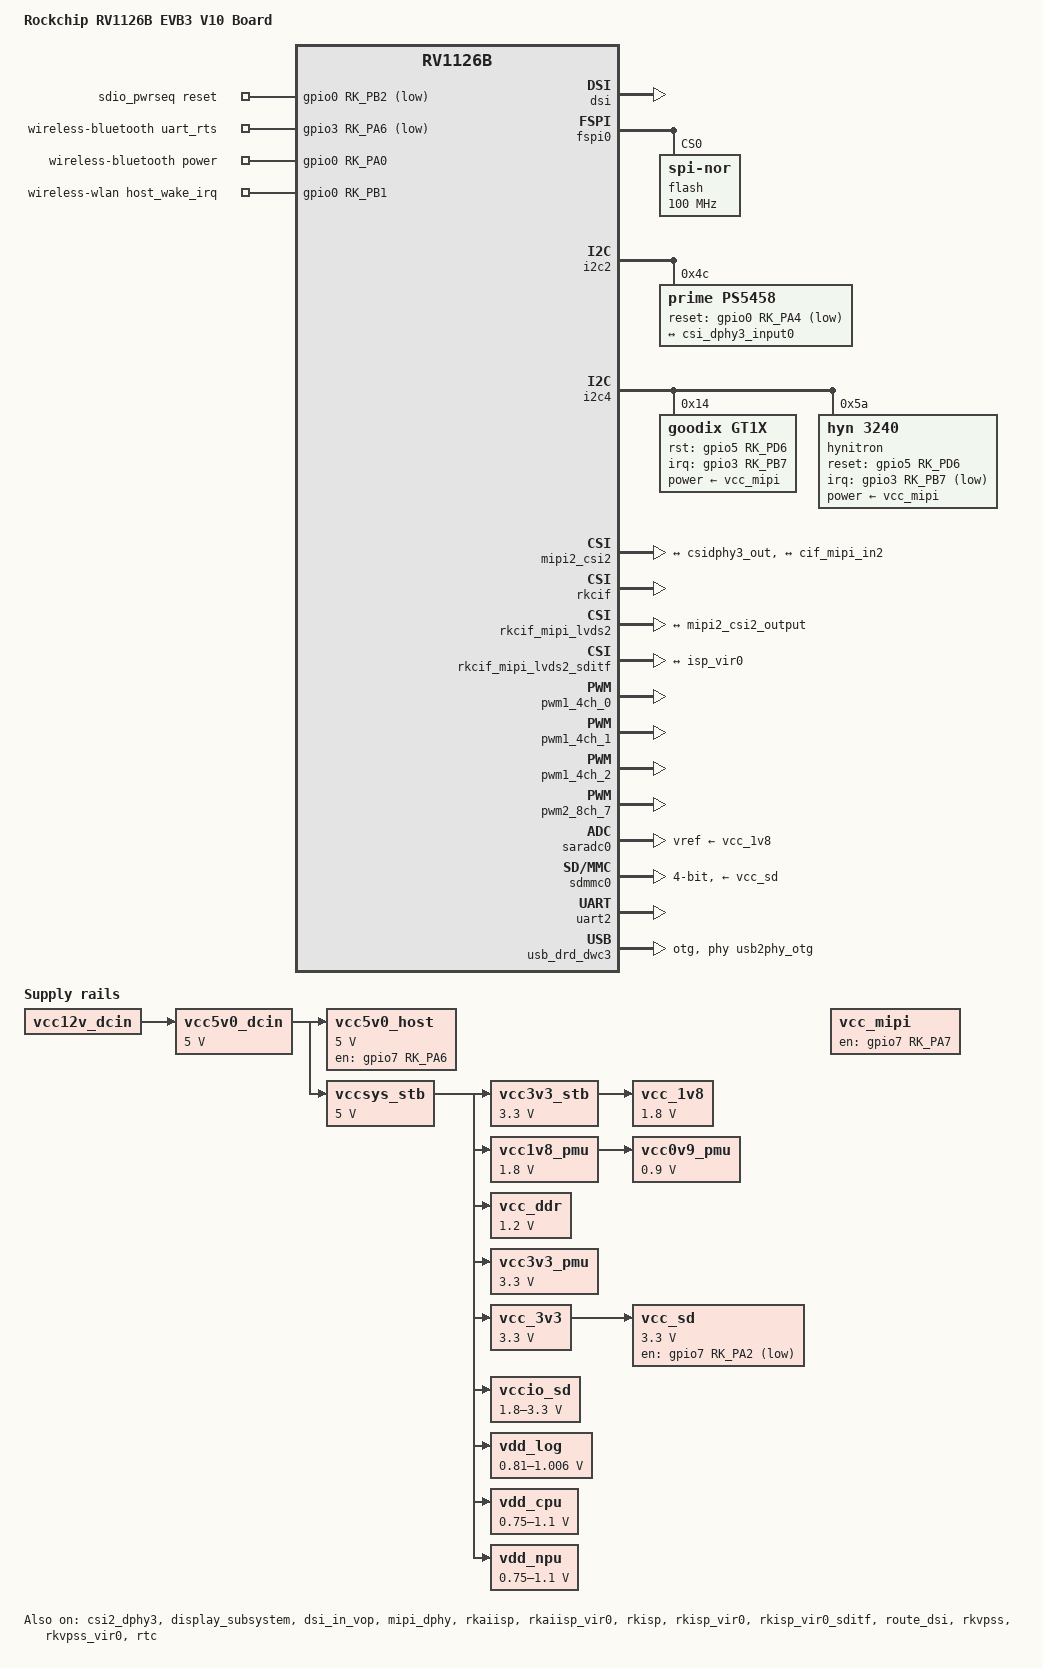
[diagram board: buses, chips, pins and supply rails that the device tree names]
// SPDX-License-Identifier: (GPL-2.0+ OR MIT)
/*
 * Copyright (c) 2025 Rockchip Electronics Co., Ltd.
 */

/dts-v1/;
#include "rv1126b.dtsi"
#include "rv1126b-evb.dtsi"

/ {
	model = "Rockchip RV1126B EVB3 V10 Board";
	compatible = "rockchip,rv1126b-evb3-v10", "rockchip,rv1126b";

	sdio_pwrseq: sdio-pwrseq {
		compatible = "mmc-pwrseq-simple";
		pinctrl-names = "default";
		pinctrl-0 = <&wifi_enable_h>;

		/*
		 * On the module itself this is one of these (depending
		 * on the actual card populated):
		 * - SDIO_RESET_L_WL_REG_ON
		 * - PDN (power down when low)
		 */
		reset-gpios = <&gpio0 RK_PB2 GPIO_ACTIVE_LOW>;
	};

	vcc5v0_dcin: vcc5v0-dcin {
		compatible = "regulator-fixed";
		regulator-name = "vcc5v0_dcin";
		regulator-always-on;
		regulator-boot-on;
		regulator-min-microvolt = <5000000>;
		regulator-max-microvolt = <5000000>;
		vin-supply = <&vcc12v_dcin>;
	};

	vcc5v0_host: vcc5v0-host {
		compatible = "regulator-fixed";
		regulator-name = "vcc5v0_host";
		regulator-boot-on;
		regulator-always-on;
		regulator-min-microvolt = <5000000>;
		regulator-max-microvolt = <5000000>;
		enable-active-high;
		gpio = <&gpio7 RK_PA6 GPIO_ACTIVE_HIGH>;
		vin-supply = <&vcc5v0_dcin>;
		pinctrl-names = "default";
		pinctrl-0 = <&vcc5v0_host_en>;
	};

	vccsys_stb: vccsys-stb {
		compatible = "regulator-fixed";
		regulator-name = "vccsys_stb";
		regulator-always-on;
		regulator-boot-on;
		regulator-min-microvolt = <5000000>;
		regulator-max-microvolt = <5000000>;
		vin-supply = <&vcc5v0_dcin>;
	};

	vcc3v3_stb: vcc3v3-stb {
		compatible = "regulator-fixed";
		regulator-name = "vcc3v3_stb";
		regulator-always-on;
		regulator-boot-on;
		regulator-min-microvolt = <3300000>;
		regulator-max-microvolt = <3300000>;
		vin-supply = <&vccsys_stb>;
	};

	vcc1v8_pmu: vdd1_1v8_ddr: vcc1v8_pmu {
		compatible = "regulator-fixed";
		regulator-name = "vcc3v3_stb";
		regulator-always-on;
		regulator-boot-on;
		regulator-min-microvolt = <1800000>;
		regulator-max-microvolt = <1800000>;
		vin-supply = <&vccsys_stb>;
	};

	vcc_ddr: vcc_ddr {
		compatible = "regulator-fixed";
		regulator-name = "vcc_ddr";
		regulator-always-on;
		regulator-boot-on;
		regulator-min-microvolt = <1200000>;
		regulator-max-microvolt = <1200000>;
		vin-supply = <&vccsys_stb>;
	};

	vcc3v3_pmu: vcc3v3-pmu {
		compatible = "regulator-fixed";
		regulator-name = "vcc3v3_pmu";
		regulator-always-on;
		regulator-boot-on;
		regulator-min-microvolt = <3300000>;
		regulator-max-microvolt = <3300000>;
		vin-supply = <&vccsys_stb>;
	};

	vcc0v9_pmu: vcc0v9-pmu {
		compatible = "regulator-fixed";
		regulator-name = "vcc0v9_pmu";
		regulator-always-on;
		regulator-boot-on;
		regulator-min-microvolt = <900000>;
		regulator-max-microvolt = <900000>;
		vin-supply = <&vcc1v8_pmu>;
	};

	vcc_mipi: vcc-mipi {
		compatible = "regulator-fixed";
		regulator-name = "vcc_mipi";
		gpio = <&gpio7 RK_PA7 GPIO_ACTIVE_HIGH>;
		enable-active-high;
		regulator-boot-on;
	};

	vcc_1v8: vcc-1v8 {
		compatible = "regulator-fixed";
		regulator-name = "vcc_1v8";
		regulator-always-on;
		regulator-boot-on;
		regulator-min-microvolt = <1800000>;
		regulator-max-microvolt = <1800000>;
		vin-supply = <&vcc3v3_stb>;
	};

	vcc_3v3: vcc3v3_dev: vcc-3v3 {
		compatible = "regulator-fixed";
		regulator-name = "vcc_3v3";
		regulator-always-on;
		regulator-boot-on;
		regulator-min-microvolt = <3300000>;
		regulator-max-microvolt = <3300000>;
		vin-supply = <&vccsys_stb>;
	};

	vcc_sd: vcc-sd {
		compatible = "regulator-fixed";
		gpio = <&gpio7 RK_PA2 GPIO_ACTIVE_LOW>;
		regulator-name = "vcc_sd";
		regulator-min-microvolt = <3300000>;
		regulator-max-microvolt = <3300000>;
		enable-active-low;
		vin-supply = <&vcc_3v3>;
	};

	vccio_sd: vccio-sd {
		compatible = "regulator-gpio";
		regulator-boot-on;
		regulator-name = "vccio_sd";
		regulator-min-microvolt = <1800000>;
		regulator-max-microvolt = <3300000>;
		gpios = <&gpio7 RK_PA3 GPIO_ACTIVE_LOW>;
		vin-supply = <&vccsys_stb>;
		states = <1800000 0x0
			  3300000 0x1>;
	};

	vdd_log: vdd-log {
		compatible = "pwm-regulator";
		pwms = <&pwm1_4ch_2 0 25000 1>;
		regulator-name = "vdd_log";
		regulator-init-microvolt = <905000>;
		regulator-min-microvolt = <810000>;
		regulator-max-microvolt = <1006000>;
		regulator-settling-time-up-us = <250>;
		regulator-always-on;
		regulator-boot-on;
		pwm-supply = <&vccsys_stb>;
		status = "okay";
	};

	vdd_cpu: vdd-cpu {
		compatible = "pwm-regulator";
		pwms = <&pwm1_4ch_0 0 25000 1>;
		regulator-name = "vdd_cpu";
		regulator-init-microvolt = <950000>;
		regulator-min-microvolt = <750000>;
		regulator-max-microvolt = <1100000>;
		regulator-settling-time-up-us = <250>;
		regulator-always-on;
		regulator-boot-on;
		pwm-supply = <&vccsys_stb>;
		status = "okay";
	};

	vdd_npu: vdd-npu {
		compatible = "pwm-regulator";
		pwms = <&pwm1_4ch_1 0 25000 1>;
		regulator-name = "vdd_npu";
		regulator-init-microvolt = <950000>;
		regulator-min-microvolt = <750000>;
		regulator-max-microvolt = <1100000>;
		regulator-settling-time-up-us = <250>;
		regulator-always-on;
		regulator-boot-on;
		pwm-supply = <&vccsys_stb>;
		status = "okay";
	};

	wireless-bluetooth {
		compatible = "bluetooth-platdata";
		uart_rts_gpios = <&gpio3 RK_PA6 GPIO_ACTIVE_LOW>;
		pinctrl-names = "default", "rts_gpio";
		pinctrl-0 = <&uart2m0_rtsn_pins>;
		pinctrl-1 = <&uart2_gpios>;
		BT,power_gpio = <&gpio0 RK_PA0 GPIO_ACTIVE_HIGH>;
		status = "okay";
	};

	wireless-wlan {
		compatible = "wlan-platdata";
		rockchip,grf = <&grf>;
		pinctrl-names = "default";
		pinctrl-0 = <&wifi_wake_host>;
		wifi_chip_type = "rk96x";
		WIFI,host_wake_irq = <&gpio0 RK_PB1 GPIO_ACTIVE_HIGH>;
		status = "okay";
	};
};

&backlight {
	pwms = <&pwm2_8ch_7 0 25000 0>;
};

&cpu0 {
	cpu-supply = <&vdd_cpu>;
};

&csi2_dphy3 {
	status = "okay";

	ports {
		#address-cells = <1>;
		#size-cells = <0>;
		port@0 {
			reg = <0>;
			#address-cells = <1>;
			#size-cells = <0>;

			csi_dphy3_input0: endpoint@1 {
				reg = <1>;
				remote-endpoint = <&ps5458_out>;
				data-lanes = <1 2>;
			};
		};
		port@1 {
			reg = <1>;
			#address-cells = <1>;
			#size-cells = <0>;

			csidphy3_out: endpoint@0 {
				reg = <0>;
				remote-endpoint = <&mipi2_csi2_input>;
			};
		};
	};
};

&display_subsystem {
	status = "okay";
};

&dsi {
	status = "okay";
};

&dsi_in_vop {
	status = "okay";
};

&dsi_panel {
	power-supply = <&vcc_mipi>;
};

&fspi0 {
	status = "okay";

	flash@0 {
		compatible = "jedec,spi-nor";
		reg = <0>;
		spi-max-frequency = <100000000>;
		spi-rx-bus-width = <4>;
		spi-tx-bus-width = <1>;
	};
};

&i2c2 {
	status = "okay";
	pinctrl-0 = <&i2c2m0_pins>;

	ps5458: ps5458@4c {
		compatible = "prime,ps5458";
		reg = <0x4c>;
		clocks = <&cru CLK_MIPI2_OUT2IO>;
		clock-names = "xvclk";
		reset-gpios = <&gpio0 RK_PA4 GPIO_ACTIVE_LOW>;
		pinctrl-names = "default";
		pinctrl-0 = <&cam_clk2_pins>;
		rockchip,camera-module-index = <0>;
		rockchip,camera-module-facing = "back";
		rockchip,camera-module-name = "default";
		rockchip,camera-module-lens-name = "default";
		port {
			ps5458_out: endpoint {
				remote-endpoint = <&csi_dphy3_input0>;
				data-lanes = <1 2>;
			};
		};
	};
};

&i2c4 {
	status = "okay";
	pinctrl-names = "default";
	pinctrl-0 = <&i2c4m3_pins>;

	gt1x: gt1x@14 {
		compatible = "goodix,gt1x";
		reg = <0x14>;
		pinctrl-names = "default";
		pinctrl-0 = <&touch_gpio>;
		power-supply = <&vcc_mipi>;
		goodix,rst-gpio = <&gpio5 RK_PD6 GPIO_ACTIVE_HIGH>;
		goodix,irq-gpio = <&gpio3 RK_PB7 IRQ_TYPE_LEVEL_LOW>;
	};

	hynitron: hynitron@5a {
		compatible = "hyn,3240";
		reg = <0x5a>;
		power-supply = <&vcc_mipi>;

		pinctrl-names = "ts_active","ts_suspend";
		pinctrl-0 = <&ts_int_active &ts_reset_active>;
		pinctrl-1 = <&ts_int_suspend &ts_reset_suspend>;

		reset-gpios = <&gpio5 RK_PD6 GPIO_ACTIVE_HIGH>;
		irq-gpios = <&gpio3 RK_PB7 GPIO_ACTIVE_LOW>;

		max-touch-number = <5>;
		display-coords = <0 0 1080 1920>;
		pos-swap = <0>;
		posx-reverse = <0>;
		posy-reverse = <0>;
	};
};

&mipi2_csi2 {
	status = "okay";

	ports {
		#address-cells = <1>;
		#size-cells = <0>;

		port@0 {
			reg = <0>;
			#address-cells = <1>;
			#size-cells = <0>;

			mipi2_csi2_input: endpoint@1 {
				reg = <1>;
				remote-endpoint = <&csidphy3_out>;
			};
		};

		port@1 {
			reg = <1>;
			#address-cells = <1>;
			#size-cells = <0>;

			mipi2_csi2_output: endpoint@0 {
				reg = <0>;
				remote-endpoint = <&cif_mipi_in2>;
			};
		};
	};
};

&mipi_dphy {
	status = "okay";
};

&rkaiisp {
	status = "okay";
};

&rkaiisp_mmu {
	status = "okay";
};

&rkaiisp_vir0 {
	status = "okay";
};

&rkcif {
	status = "okay";
};

&rkcif_mipi_lvds2 {
	status = "okay";

	port {
		cif_mipi_in2: endpoint {
			remote-endpoint = <&mipi2_csi2_output>;
		};
	};
};

&rkcif_mipi_lvds2_sditf {
	status = "okay";

	port {
		mipi_lvds2_sditf: endpoint {
			remote-endpoint = <&isp_vir0>;
		};
	};
};

&rkcif_mmu {
	status = "okay";
};

&rkisp {
	status = "okay";
};

&rkisp_mmu {
	status = "okay";
};

&rkisp_vir0 {
	status = "okay";

	port {
		#address-cells = <1>;
		#size-cells = <0>;

		isp_vir0: endpoint@0 {
			reg = <0>;
			remote-endpoint = <&mipi_lvds2_sditf>;
		};
	};
};

&rkisp_vir0_sditf {
	status = "okay";
};

&rknpu {
	rknpu-supply = <&vdd_npu>;
};

&route_dsi {
	status = "okay";
};

&rkvpss {
	status = "okay";
	dvbm = <&rkdvbm>;
};

&rkvpss_mmu {
	status = "okay";
};

&rkvpss_vir0 {
	status = "okay";
};

&rockchip_suspend {
	status = "okay";

	rockchip,sleep-debug-en = <1>;

	rockchip,sleep-pin-config = <
		(0
		)
	>;
	rockchip,sleep-mode-config = <
		(0
		| RKPM_SLP_ARMOFF_LOGOFF
		| RKPM_SLP_PMU_PMUALIVE_32K
		| RKPM_SLP_PMU_DIS_OSC
		| RKPM_SLP_LP_PR
		)
	>;
};

&rtc {
	rockchip,rtc-suspend-bypass;
	status = "okay";
};

&pinctrl {
	sdio-pwrseq {
		wifi_enable_h: wifi-enable-h {
			rockchip,pins = <0 RK_PB2 RK_FUNC_GPIO &pcfg_pull_none>;
		};
	};

	touch {
		touch_gpio: touch-gpio {
			rockchip,pins =
				<3 RK_PB7 RK_FUNC_GPIO &pcfg_pull_up>,
				<5 RK_PD6 RK_FUNC_GPIO &pcfg_pull_none>;
		};

		ts_int_active: ts_int_active {
			rockchip,pins = <3 RK_PB7 RK_FUNC_GPIO &pcfg_pull_up>;
		};

		ts_reset_active: ts_reset_active {
			rockchip,pins = <5 RK_PD6 RK_FUNC_GPIO &pcfg_pull_up>;
		};

		ts_int_suspend: ts_int_suspend {
			rockchip,pins = <3 RK_PB7 RK_FUNC_GPIO &pcfg_pull_down>;
		};

		ts_reset_suspend: ts_reset_suspend {
			rockchip,pins = <5 RK_PD6 RK_FUNC_GPIO &pcfg_pull_down>;
		};
	};

	usb {
		vcc5v0_host_en: vcc5v0-host-en {
			rockchip,pins = <7 RK_PA6 RK_FUNC_GPIO &pcfg_pull_none>;
		};
	};

	wireless-bluetooth {
		uart2_gpios: uart2-gpios {
			rockchip,pins = <3 RK_PA6 RK_FUNC_GPIO &pcfg_pull_none>;
		};
	};

	wireless-wlan {
		wifi_wake_host: wifi-wake-host {
			rockchip,pins = <0 RK_PB1 RK_FUNC_GPIO &pcfg_pull_up>;
		};
	};
};

&pwm1_4ch_0 {
	pinctrl-0 = <&pwm1m2_ch0_pins>;
	status = "okay";
};

&pwm1_4ch_1 {
	pinctrl-0 = <&pwm1m2_ch1_pins>;
	status = "okay";
};

&pwm1_4ch_2 {
	pinctrl-0 = <&pwm1m2_ch2_pins>;
	status = "okay";
};

&pwm2_8ch_7 {
	status = "okay";
};

&saradc0 {
	vref-supply = <&vcc_1v8>;
};

&sdmmc0 {
	max-frequency = <200000000>;
	no-sdio;
	no-mmc;
	bus-width = <4>;
	cap-mmc-highspeed;
	cap-sd-highspeed;
	disable-wp;
	sd-uhs-sdr104;
	vmmc-supply = <&vcc_sd>;
	vqmmc-supply = <&vccio_sd>;
	status = "okay";
};

&uart2 {
	status = "okay";
	pinctrl-names = "default";
	pinctrl-0 = <&uart2m0_xfer_pins &uart2m0_ctsn_pins>;
};

&usb2phy_host {
	phy-supply = <&vcc5v0_host>;
};

&usb3phy {
	status = "disabled";
};

&usb_drd_dwc3 {
	dr_mode = "otg";
	extcon = <&usb2phy>;
	maximum-speed = "high-speed";
	phys = <&usb2phy_otg>;
	phy-names = "usb2-phy";
	snps,dis_u2_susphy_quirk;
	snps,usb2-lpm-disable;
};
